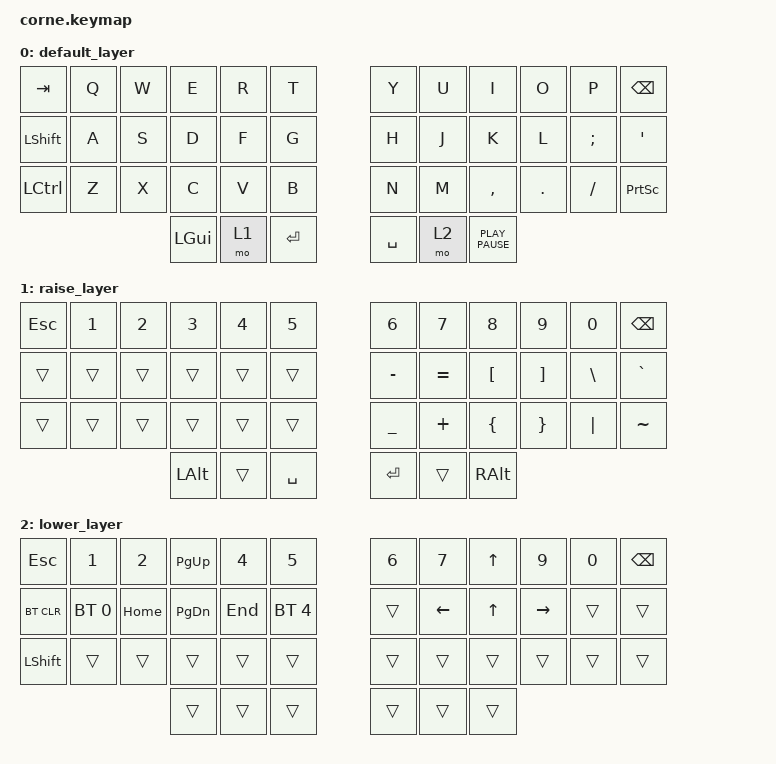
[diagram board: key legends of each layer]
/*
 * Copyright (c) 2020 The ZMK Contributors
 *
 * SPDX-License-Identifier: MIT
 */

#include <behaviors.dtsi>
#include <dt-bindings/zmk/bt.h>
#include <dt-bindings/zmk/keys.h>

&led_strip { chain-length = <48>; };

/ {
    keymap {
        compatible = "zmk,keymap";

        default_layer {
            // -----------------------------------------------------------------------------------------
            // |  TAB |  Q  |  W  |  E  |  R  |  T  |   |  Y  |  U   |  I  |  O  |  P  | BSPC |
            // | CTRL |  A  |  S  |  D  |  F  |  G  |   |  H  |  J   |  K  |  L  |  ;  |  '   |
            // | SHFT |  Z  |  X  |  C  |  V  |  B  |   |  N  |  M   |  ,  |  .  |  /  | ESC  |
            //                    | GUI | LWR | SPC |   | ENT | RSE  | ALT |

            bindings = <
&kp TAB           &kp Q  &kp W  &kp E     &kp R  &kp T      &kp Y      &kp U  &kp I             &kp O    &kp P     &kp BSPC
&kp LSHFT         &kp A  &kp S  &kp D     &kp F  &kp G      &kp H      &kp J  &kp K             &kp L    &kp SEMI  &kp SQT
&kp LEFT_CONTROL  &kp Z  &kp X  &kp C     &kp V  &kp B      &kp N      &kp M  &kp COMMA         &kp DOT  &kp FSLH  &kp PRINTSCREEN
                                &kp LGUI  &mo 1  &kp RET    &kp SPACE  &mo 2  &kp K_PLAY_PAUSE
            >;
        };

        raise_layer {
            // -----------------------------------------------------------------------------------------
            // |  TAB |  !  |  @  |  #  |  $  |  %  |   |  ^  |  &  |  *  |  (  |  )  | BSPC |
            // | CTRL |     |     |     |     |     |   |  -  |  =  |  [  |  ]  |  \  |  `   |
            // | SHFT |     |     |     |     |     |   |  _  |  +  |  {  |  }  | "|" |  ~   |
            //                    | GUI |     | SPC |   | ENT |     | ALT |

            bindings = <
&kp ESCAPE  &kp N1  &kp N2  &kp N3        &kp N4  &kp N5       &kp N6     &kp N7     &kp N8    &kp N9    &kp N0    &kp BSPC
&trans      &trans  &trans  &trans        &trans  &trans       &kp MINUS  &kp EQUAL  &kp LBKT  &kp RBKT  &kp BSLH  &kp GRAVE
&trans      &trans  &trans  &trans        &trans  &trans       &kp UNDER  &kp PLUS   &kp LBRC  &kp RBRC  &kp PIPE  &kp TILDE
                            &kp LEFT_ALT  &trans  &kp SPACE    &kp RET    &trans     &kp RALT
            >;
        };

        lower_layer {
            // -----------------------------------------------------------------------------------------
            // |  TAB |  1  |  2  |  3  |  4  |  5  |   |  6  |  7  |  8  |  9  |  0  | BSPC |
            // | BTCLR| BT1 | BT2 | BT3 | BT4 | BT5 |   | LFT | DWN |  UP | RGT |     |      |
            // | SHFT |     |     |     |     |     |   |     |     |     |     |     |      |
            //                    | GUI |     | SPC |   | ENT |     | ALT |

            bindings = <
&kp ESCAPE  &kp N1        &kp N2    &kp PAGE_UP    &kp N4   &kp N5          &kp N6  &kp N7    &kp UP_ARROW  &kp N9     &kp N0  &kp BSPC
&bt BT_CLR  &bt BT_SEL 0  &kp HOME  &kp PAGE_DOWN  &kp END  &bt BT_SEL 4    &trans  &kp LEFT  &kp UP        &kp RIGHT  &trans  &trans
&kp LSHFT   &trans        &trans    &trans         &trans   &trans          &trans  &trans    &trans        &trans     &trans  &trans
                                    &trans         &trans   &trans          &trans  &trans    &trans
            >;
        };
    };
};
